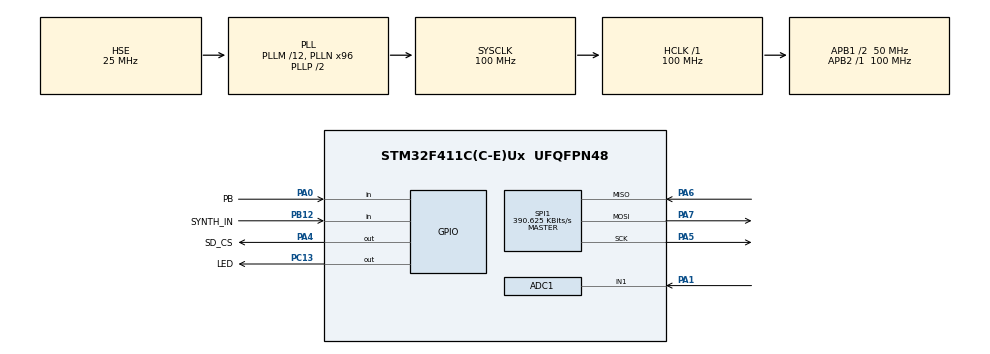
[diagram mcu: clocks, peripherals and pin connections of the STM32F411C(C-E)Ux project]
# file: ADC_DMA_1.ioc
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ADC1.Channel-0\#ChannelRegularConversion=ADC_CHANNEL_1
ADC1.DMAContinuousRequests=ENABLE
ADC1.ExternalTrigConv=ADC_EXTERNALTRIGCONV_T2_TRGO
ADC1.NbrOfConversionFlag=1
ADC1.Rank-0\#ChannelRegularConversion=1
ADC1.SamplingTime-0\#ChannelRegularConversion=ADC_SAMPLETIME_3CYCLES
ADC1.master=1
Dma.ADC1.0.Direction=DMA_PERIPH_TO_MEMORY
Dma.ADC1.0.FIFOMode=DMA_FIFOMODE_DISABLE
Dma.ADC1.0.Instance=DMA2_Stream0
Dma.ADC1.0.MemDataAlignment=DMA_MDATAALIGN_HALFWORD
Dma.ADC1.0.MemInc=DMA_MINC_ENABLE
Dma.ADC1.0.Mode=DMA_CIRCULAR
Dma.ADC1.0.PeriphDataAlignment=DMA_PDATAALIGN_HALFWORD
Dma.ADC1.0.PeriphInc=DMA_PINC_DISABLE
Dma.ADC1.0.Priority=DMA_PRIORITY_HIGH
Dma.Request0=ADC1
Mcu.Family=STM32F4
Mcu.Name=STM32F411C(C-E)Ux
Mcu.Package=UFQFPN48
NVIC.DMA2_Stream0_IRQn=true\:1\:0\:true\:false\:true\:false\:true\:true
NVIC.PriorityGroup=NVIC_PRIORITYGROUP_4
PA0-WKUP.GPIO_Label=PB
PA0-WKUP.GPIO_PuPd=GPIO_PULLUP
PA0-WKUP.Signal=GPIO_Input
PA1.Signal=ADCx_IN1
PA13.Mode=Trace_Asynchronous_SW
PA13.Signal=SYS_JTMS-SWDIO
PA14.Mode=Trace_Asynchronous_SW
PA14.Signal=SYS_JTCK-SWCLK
PA4.GPIO_Label=SD_CS
PA4.GPIO_Speed=GPIO_SPEED_FREQ_HIGH
PA4.Signal=GPIO_Output
PA5.Mode=Full_Duplex_Master
PA5.Signal=SPI1_SCK
PA6.Mode=Full_Duplex_Master
PA6.Signal=SPI1_MISO
PA7.Mode=Full_Duplex_Master
PA7.Signal=SPI1_MOSI
PB12.GPIO_Label=SYNTH_IN
PB12.GPIO_PuPd=GPIO_PULLDOWN
PB12.Signal=GPIO_Input
PB3.Mode=Trace_Asynchronous_SW
PB3.Signal=SYS_JTDO-SWO
PC13-ANTI_TAMP.GPIO_Label=LED
PC13-ANTI_TAMP.GPIO_PuPd=GPIO_PULLUP
PC13-ANTI_TAMP.Signal=GPIO_Output
PC14-OSC32_IN.Mode=LSE-External-Oscillator
PC14-OSC32_IN.Signal=RCC_OSC32_IN
PC15-OSC32_OUT.Mode=LSE-External-Oscillator
PC15-OSC32_OUT.Signal=RCC_OSC32_OUT
PH0\ -\ OSC_IN.Mode=HSE-External-Oscillator
PH0\ -\ OSC_IN.Signal=RCC_OSC_IN
PH1\ -\ OSC_OUT.Mode=HSE-External-Oscillator
PH1\ -\ OSC_OUT.Signal=RCC_OSC_OUT
ProjectManager.HeapSize=0x200
ProjectManager.StackSize=0x400
ProjectManager.TargetToolchain=STM32CubeIDE
RCC.48MHZClocksFreq_Value=50000000
RCC.AHBFreq_Value=100000000
RCC.APB1CLKDivider=RCC_HCLK_DIV2
RCC.APB1Freq_Value=50000000
RCC.APB1TimFreq_Value=100000000
RCC.APB2Freq_Value=100000000
RCC.APB2TimFreq_Value=100000000
RCC.CortexFreq_Value=100000000
RCC.HCLKFreq_Value=100000000
RCC.HSE_VALUE=25000000
RCC.HSI_VALUE=16000000
RCC.PLLM=12
RCC.PLLN=96
RCC.PLLSourceVirtual=RCC_PLLSOURCE_HSE
RCC.SYSCLKFreq_VALUE=100000000
RCC.SYSCLKSource=RCC_SYSCLKSOURCE_PLLCLK
RCC.VCOOutputFreq_Value=200000000
SH.ADCx_IN1.0=ADC1_IN1,IN1
SPI1.BaudRatePrescaler=SPI_BAUDRATEPRESCALER_256
SPI1.CalculateBaudRate=390.625 KBits/s
SPI1.Direction=SPI_DIRECTION_2LINES
SPI1.Mode=SPI_MODE_MASTER
SPI1.VirtualType=VM_MASTER
TIM2.AutoReloadPreload=TIM_AUTORELOAD_PRELOAD_ENABLE
TIM2.Period=4000-1
TIM2.Prescaler=100-1
TIM2.TIM_MasterOutputTrigger=TIM_TRGO_UPDATE
VP_FATFS_VS_Generic.Mode=User_defined
VP_TIM2_VS_ClockSourceINT.Mode=Internal
board=custom

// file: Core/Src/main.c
/* USER CODE BEGIN Header */
/**
 ******************************************************************************
 * @file           : main.c
 * @brief          : Main program body
 ******************************************************************************
 * @attention
 *
 * Copyright (c) 2023 STMicroelectronics.
 * All rights reserved.
 *
 * This software is licensed under terms that can be found in the LICENSE file
 * in the root directory of this software component.
 * If no LICENSE file comes with this software, it is provided AS-IS.
 *
 ******************************************************************************
 */
/* USER CODE END Header */
#include "main.h"
#include "fatfs.h"

/* USER CODE BEGIN Includes */
#include <stdbool.h>
#include <stdlib.h>
#include <stdio.h>
#include <string.h>
#include <math.h>
#include "christov.h"
#include "engzee.h"
#include "tradeoff.h"
#include "filter.h"
/* USER CODE END Includes */

ADC_HandleTypeDef hadc1;
DMA_HandleTypeDef hdma_adc1;

SPI_HandleTypeDef hspi1;

TIM_HandleTypeDef htim2;

/* USER CODE BEGIN PV */
uint16_t buffer[BUF_LEN];

// Flags for processing circular buffer
uint8_t fill = 0; //1: processing 1st half; 2: processing 2nd half
bool firstHalfFull;
bool secondHalfFull;
bool lastBuffer;
bool finishedSampling;
/* USER CODE END PV */

void SystemClock_Config(void);
static void MX_GPIO_Init(void);
static void MX_DMA_Init(void);
static void MX_ADC1_Init(void);
static void MX_TIM2_Init(void);
static void MX_SPI1_Init(void);
/* USER CODE BEGIN PFP */
int _write(int file, char *ptr, int len);
void notEnoughTimeError(void);
/* USER CODE END PFP */

/* USER CODE BEGIN 0 */
// FATFS variables
uint8_t fname[8] = {'S', '0', '0', '.', 't', 'x', 't', 0}; // file name to open
uint8_t condchar[5] = {'S', 'M', 'W', 'J', 'B'}; // Chars for each condition
uint8_t start_subject = 2;
uint8_t end_subject = 	2;
uint8_t current_subject;
uint8_t cond_idx = 0;

/* USER CODE END 0 */

int main(void)
{

  /* USER CODE BEGIN 1 */
	GPIO_PinState PB12bitstatus = GPIO_PIN_RESET;
	// Filter coefficients
	float b1_filter[5] = {FLOAT_1div5, FLOAT_1div5, FLOAT_1div5, FLOAT_1div5, FLOAT_1div5 };
	float b2_filter[7] = {FLOAT_1div7, FLOAT_1div7, FLOAT_1div7, FLOAT_1div7, FLOAT_1div7,
																FLOAT_1div7, FLOAT_1div7 };
	float b_noise[10]  = {FLOAT_1div10, FLOAT_1div10, FLOAT_1div10, FLOAT_1div10,
									FLOAT_1div10, FLOAT_1div10, FLOAT_1div10, FLOAT_1div10,
																FLOAT_1div10, FLOAT_1div10 };

	/* ---------------------------INITIALIZE STRUCTS ----------------------------------------*/
	// Structs for signals
	Signal unfiltered_ecg;		// Unfiltered ECG sampled by ADC (casted to float)
	Signal filtered_ecg_mid;	// ECG signal after first filter
	Signal filtered_ecg_C;		// Two different structs for filtered ECG section
	Signal filtered_ecg_E;		//     since their states are of different lengths
	Signal diff_C;				// Differentiated signal (Christov)
	Signal diff_E;				// Differentiated signal (Engzee)
	Signal diff_filtered_C;		// Signal after final filtering (Christov)
	Signal diff_filtered_E;		// Signal after final filtering (Engzee)

	// Structs for algorithm states
	EngzeeState engzee_state;
	ChristovState christov_state;
	FinalDetect final_detect;

	/* --------------------------- FatFs stuff ----------------------------------------*/

	FATFS FatFs;
	FIL fil;
	FRESULT fres;
	UINT bytes_written;
	char text_line[10];

  /* USER CODE END 1 */

  /* MCU Configuration--------------------------------------------------------*/

  /* Reset of all peripherals, Initializes the Flash interface and the Systick. */
  HAL_Init();

  /* Configure the system clock */
  SystemClock_Config();

  /* Initialize all configured peripherals */
  MX_GPIO_Init();
  MX_DMA_Init();
  MX_ADC1_Init();
  MX_TIM2_Init();
  MX_SPI1_Init();
  MX_FATFS_Init();
  /* USER CODE BEGIN 2 */

  current_subject = start_subject;

  while (current_subject <= end_subject) {

	// Set flags
	firstHalfFull = false;			// First Half of buffer is full and ready to be used
	secondHalfFull = false;			// Second Half of buffer is full and ready to be used
	lastBuffer = false;				// Last buffer will be processed (no more ECG is being sent)
	finishedSampling = false;		// Finish detection
	fill = 0;						// Indicates which half is being processed

	// Zeroes all fields
	memset(&unfiltered_ecg,0,sizeof(unfiltered_ecg));
	memset(&filtered_ecg_mid,0,sizeof(filtered_ecg_mid));
	memset(&filtered_ecg_C, 0, sizeof(filtered_ecg_C));
	memset(&filtered_ecg_E, 0, sizeof(filtered_ecg_E));
	memset(&diff_C, 0, sizeof(diff_C));
	memset(&diff_E, 0, sizeof(diff_E));
	memset(&diff_filtered_C, 0, sizeof(diff_filtered_C));
	memset(&diff_filtered_E, 0, sizeof(diff_filtered_E));

	// Zeroes structs for algorithm states
	memset(&engzee_state, 0, sizeof(EngzeeState)); 		// zera todos os campos
	memset(&christov_state, 0, sizeof(ChristovState)); 	// zera todos os campos
	memset(&final_detect, 0, sizeof(FinalDetect)); 		// zera todos os campos
	float increment = 0.0016064257028112205;
	for (int j = 0; j < ms1200 - ms200; ++j) {
			engzee_state.M_slope[j] = 1.0 - j * increment;
			christov_state.M_slope[j] = engzee_state.M_slope[j];
		}

	// Implements filter state and signal sizes
	unfiltered_ecg.len_state = 		FILTER_B1_ORDER;
	filtered_ecg_mid.len_state = 	FILTER_B2_ORDER;
	filtered_ecg_C.len_state = 		DIFFERENCE_CHRISTOV_STATE;
	filtered_ecg_E.len_state = 		DIFFERENCE_ENGZEE_STATE;
	diff_C.len_state = 				FILTER_B_NOISE_ORDER;
	diff_E.len_state = 				FILTER_B_NOISE_ORDER;

	unfiltered_ecg.len_signal = 	BUF_LEN_HALF;
	filtered_ecg_mid.len_signal= 	BUF_LEN_HALF;
	filtered_ecg_C.len_signal = 	BUF_LEN_HALF;
	filtered_ecg_E.len_signal = 	BUF_LEN_HALF;
	diff_C.len_signal = 			BUF_LEN_HALF;
	diff_E.len_signal = 			BUF_LEN_HALF;
	diff_filtered_C.len_signal= 	BUF_LEN_HALF;
	diff_filtered_E.len_signal= 	BUF_LEN_HALF;

	engzee_state.fs = 250;
	christov_state.fs = 250;

  /* ---------------------------FatFs test start ----------------------------------------*/
  HAL_Delay(1000);
      fres = FR_NOT_READY;
      for (int i = 0; (i<10) && (fres!= FR_OK); i++) {
    	  fres = f_mount(&FatFs,"",1);
    	  HAL_Delay(500);
      }

      if (fres != FR_OK ){
    	  customError();
      }

    /* ---------------------------FatFs test end ----------------------------------------*/
	HAL_TIM_Base_Start(&htim2);
	HAL_GPIO_WritePin(LED_GPIO_Port, LED_Pin, GPIO_PIN_SET);	// Turns LED OFF

	// Wait for pin to be set to start detection
	while(PB12bitstatus != GPIO_PIN_SET){
			PB12bitstatus = HAL_GPIO_ReadPin(SYNTH_IN_GPIO_Port,SYNTH_IN_Pin);
		}
	HAL_ADC_Start_DMA(&hadc1, (uint32_t*)buffer, BUF_LEN);
	HAL_GPIO_WritePin(LED_GPIO_Port, LED_Pin, GPIO_PIN_RESET);	// Turns LED ON when detection starts
	while(firstHalfFull == false);
	fill = 1;
  /* USER CODE END 2 */

  /* Infinite loop */
  /* USER CODE BEGIN WHILE */
	while (finishedSampling == false) {

		if (fill == 1) {
			firstHalfFull = false;
			// Convert first half of array to float type
			array_conversion(&buffer[0], unfiltered_ecg.signal, BUF_LEN_HALF);
		} else if (fill == 2) {
			secondHalfFull = false;
			// Convert second half of array to float type
			array_conversion(&buffer[BUF_LEN_HALF], unfiltered_ecg.signal, BUF_LEN_HALF);
		}
		// ------------------------------------------------------------------//
		// --------------------------FILTERING-------------------------------//

		// Filter using b1 filter
		statefloatfilter(&unfiltered_ecg, &filtered_ecg_mid, b1_filter);

		// Filter using b2 filter for Christov
		statefloatfilter(&filtered_ecg_mid, &filtered_ecg_C, b2_filter);

		// Filter using b2 filter for Engzee
		statefloatfilter(&filtered_ecg_mid, &filtered_ecg_E, b2_filter);
		// ------------------------------------------------------------------//
		// -----------------------DIFFERENTIATION----------------------------//
		// Differentiate according to Christov
		christov_differentiation(&filtered_ecg_C, &diff_C);

		// Differentiate according to Engzee
		engzee_differentiation(&filtered_ecg_E, &diff_E);
		// ------------------------------------------------------------------//
		// -----------------------NOISE FILTERING----------------------------//
		// Filters noise of both differentiated signals
		statefloatfilter(&diff_C, &diff_filtered_C, b_noise);
		statefloatfilter(&diff_E, &diff_filtered_E, b_noise);
		// ------------------------------------------------------------------//
		// -----------------------BEAT DETECTION-----------------------------//
		engzee_lourenco(&unfiltered_ecg, &diff_filtered_E, &engzee_state);
		christov(&diff_filtered_C, &christov_state);

		// Waits for more data
		while((firstHalfFull || secondHalfFull || lastBuffer) == false);

		// Checks if detection is done
		PB12bitstatus = HAL_GPIO_ReadPin(SYNTH_IN_GPIO_Port,SYNTH_IN_Pin);		// If SYNTH_IN_Pin = GPIO_PIN_RESET means no more data will be sent
		if ((PB12bitstatus != GPIO_PIN_SET) && !lastBuffer) {lastBuffer = true;}					// 	(but one more half buffer will still be processed to ensure nothing was missed)
		else if (lastBuffer == true) {finishedSampling = true;}

		if (!finishedSampling) {
			if ((fill == 1 && firstHalfFull) ||
				(fill == 2 && secondHalfFull)) {
				customError();
			} else if (fill == 1 && secondHalfFull) {
				fill = 2;
			} else if (fill == 2 && firstHalfFull) {
				fill = 1;
			}
		}

		HAL_GPIO_TogglePin(LED_GPIO_Port, LED_Pin);
		/* USER CODE END 3 */
	}
    /* USER CODE END WHILE */

    /* USER CODE BEGIN 3 */
	// Combines detections from both algorithms
	tradeoff(&engzee_state,&christov_state, &final_detect);
	HAL_GPIO_WritePin(LED_GPIO_Port, LED_Pin, GPIO_PIN_SET);	// Turns LED off when done sampling
	HAL_ADC_Stop_DMA(&hadc1);

	/* ----------------------- Save detections in SD card -------------------------------------*/
	HAL_Delay(1000);
	fres = FR_NOT_READY;
	bytes_written = 0;

	for (int i = 0; (i<10) && (fres!= FR_OK); i++) {
		  fres = f_mount(&FatFs,"",1);
		  HAL_Delay(500);
	  }

	  if (fres != FR_OK ){
		  customError();
	  }

	fname[0] = condchar[cond_idx];
	fname[1] = (current_subject / 10) + 0x30;
	fname[2] = (current_subject % 10) + 0x30;
	fres = f_open(&fil, (TCHAR*)fname, FA_CREATE_ALWAYS | FA_WRITE);

	if (fres == FR_OK) {
		  // 2. Itere sobre o buffer de números
		  for (int i = 0; i < final_detect.len_detections; i++) {

			  // Converte o número (ex: 245) para a string "245\n"
			  // O '\n' é a quebra de linha para separar os valores
			  int len = snprintf(text_line, sizeof(text_line), "%lu\n", final_detect.detections[i]);

			  // 3. Escreve a string (texto) no arquivo
			  fres = f_write(&fil, text_line, len, &bytes_written);

			  if (fres != FR_OK || bytes_written != len) {
				  // Se o FatFs não conseguiu escrever todos os bytes, pare
				  customError();
			  }
		  }
	  }
	  f_close(&fil);
	  f_mount(NULL, "", 0);

	  /* -------------------------------------------------------------------*/

	if(cond_idx < 5) {
		cond_idx++;
	} else if (cond_idx == 5) {
		cond_idx = 0;
		current_subject++;
	} else {
		customError();
	}
  }

	return 0;
  /* USER CODE END 3 */
}

void SystemClock_Config(void)
{
  RCC_OscInitTypeDef RCC_OscInitStruct = {0};
  RCC_ClkInitTypeDef RCC_ClkInitStruct = {0};

  /** Configure the main internal regulator output voltage
  */
  __HAL_RCC_PWR_CLK_ENABLE();
  __HAL_PWR_VOLTAGESCALING_CONFIG(PWR_REGULATOR_VOLTAGE_SCALE1);

  /** Initializes the RCC Oscillators according to the specified parameters
  * in the RCC_OscInitTypeDef structure.
  */
  RCC_OscInitStruct.OscillatorType = RCC_OSCILLATORTYPE_HSE;
  RCC_OscInitStruct.HSEState = RCC_HSE_ON;
  RCC_OscInitStruct.PLL.PLLState = RCC_PLL_ON;
  RCC_OscInitStruct.PLL.PLLSource = RCC_PLLSOURCE_HSE;
  RCC_OscInitStruct.PLL.PLLM = 12;
  RCC_OscInitStruct.PLL.PLLN = 96;
  RCC_OscInitStruct.PLL.PLLP = RCC_PLLP_DIV2;
  RCC_OscInitStruct.PLL.PLLQ = 4;
  if (HAL_RCC_OscConfig(&RCC_OscInitStruct) != HAL_OK)
  {
    Error_Handler();
  }

  /** Initializes the CPU, AHB and APB buses clocks
  */
  RCC_ClkInitStruct.ClockType = RCC_CLOCKTYPE_HCLK|RCC_CLOCKTYPE_SYSCLK
                              |RCC_CLOCKTYPE_PCLK1|RCC_CLOCKTYPE_PCLK2;
  RCC_ClkInitStruct.SYSCLKSource = RCC_SYSCLKSOURCE_PLLCLK;
  RCC_ClkInitStruct.AHBCLKDivider = RCC_SYSCLK_DIV1;
  RCC_ClkInitStruct.APB1CLKDivider = RCC_HCLK_DIV2;
  RCC_ClkInitStruct.APB2CLKDivider = RCC_HCLK_DIV1;

  if (HAL_RCC_ClockConfig(&RCC_ClkInitStruct, FLASH_LATENCY_3) != HAL_OK)
  {
    Error_Handler();
  }
}

static void MX_ADC1_Init(void)
{

  ADC_ChannelConfTypeDef sConfig = {0};

  /** Configure the global features of the ADC (Clock, Resolution, Data Alignment and number of conversion)
  */
  hadc1.Instance = ADC1;
  hadc1.Init.ClockPrescaler = ADC_CLOCK_SYNC_PCLK_DIV4;
  hadc1.Init.Resolution = ADC_RESOLUTION_12B;
  hadc1.Init.ScanConvMode = DISABLE;
  hadc1.Init.ContinuousConvMode = DISABLE;
  hadc1.Init.DiscontinuousConvMode = DISABLE;
  hadc1.Init.ExternalTrigConvEdge = ADC_EXTERNALTRIGCONVEDGE_RISING;
  hadc1.Init.ExternalTrigConv = ADC_EXTERNALTRIGCONV_T2_TRGO;
  hadc1.Init.DataAlign = ADC_DATAALIGN_RIGHT;
  hadc1.Init.NbrOfConversion = 1;
  hadc1.Init.DMAContinuousRequests = ENABLE;
  hadc1.Init.EOCSelection = ADC_EOC_SINGLE_CONV;
  if (HAL_ADC_Init(&hadc1) != HAL_OK)
  {
    Error_Handler();
  }

  /** Configure for the selected ADC regular channel its corresponding rank in the sequencer and its sample time.
  */
  sConfig.Channel = ADC_CHANNEL_1;
  sConfig.Rank = 1;
  sConfig.SamplingTime = ADC_SAMPLETIME_3CYCLES;
  if (HAL_ADC_ConfigChannel(&hadc1, &sConfig) != HAL_OK)
  {
    Error_Handler();
  }

}

static void MX_SPI1_Init(void)
{

  /* SPI1 parameter configuration*/
  hspi1.Instance = SPI1;
  hspi1.Init.Mode = SPI_MODE_MASTER;
  hspi1.Init.Direction = SPI_DIRECTION_2LINES;
  hspi1.Init.DataSize = SPI_DATASIZE_8BIT;
  hspi1.Init.CLKPolarity = SPI_POLARITY_LOW;
  hspi1.Init.CLKPhase = SPI_PHASE_1EDGE;
  hspi1.Init.NSS = SPI_NSS_SOFT;
  hspi1.Init.BaudRatePrescaler = SPI_BAUDRATEPRESCALER_256;
  hspi1.Init.FirstBit = SPI_FIRSTBIT_MSB;
  hspi1.Init.TIMode = SPI_TIMODE_DISABLE;
  hspi1.Init.CRCCalculation = SPI_CRCCALCULATION_DISABLE;
  hspi1.Init.CRCPolynomial = 10;
  if (HAL_SPI_Init(&hspi1) != HAL_OK)
  {
    Error_Handler();
  }

}

static void MX_TIM2_Init(void)
{

  TIM_ClockConfigTypeDef sClockSourceConfig = {0};
  TIM_MasterConfigTypeDef sMasterConfig = {0};

  htim2.Instance = TIM2;
  htim2.Init.Prescaler = 100-1;
  htim2.Init.CounterMode = TIM_COUNTERMODE_UP;
  htim2.Init.Period = 4000-1;
  htim2.Init.ClockDivision = TIM_CLOCKDIVISION_DIV1;
  htim2.Init.AutoReloadPreload = TIM_AUTORELOAD_PRELOAD_ENABLE;
  if (HAL_TIM_Base_Init(&htim2) != HAL_OK)
  {
    Error_Handler();
  }
  sClockSourceConfig.ClockSource = TIM_CLOCKSOURCE_INTERNAL;
  if (HAL_TIM_ConfigClockSource(&htim2, &sClockSourceConfig) != HAL_OK)
  {
    Error_Handler();
  }
  sMasterConfig.MasterOutputTrigger = TIM_TRGO_UPDATE;
  sMasterConfig.MasterSlaveMode = TIM_MASTERSLAVEMODE_DISABLE;
  if (HAL_TIMEx_MasterConfigSynchronization(&htim2, &sMasterConfig) != HAL_OK)
  {
    Error_Handler();
  }

}

static void MX_DMA_Init(void)
{

  /* DMA controller clock enable */
  __HAL_RCC_DMA2_CLK_ENABLE();

  /* DMA interrupt init */
  /* DMA2_Stream0_IRQn interrupt configuration */
  HAL_NVIC_SetPriority(DMA2_Stream0_IRQn, 1, 0);
  HAL_NVIC_EnableIRQ(DMA2_Stream0_IRQn);

}

static void MX_GPIO_Init(void)
{
  GPIO_InitTypeDef GPIO_InitStruct = {0};

  /* GPIO Ports Clock Enable */
  __HAL_RCC_GPIOC_CLK_ENABLE();
  __HAL_RCC_GPIOH_CLK_ENABLE();
  __HAL_RCC_GPIOA_CLK_ENABLE();
  __HAL_RCC_GPIOB_CLK_ENABLE();

  /*Configure GPIO pin Output Level */
  HAL_GPIO_WritePin(LED_GPIO_Port, LED_Pin, GPIO_PIN_RESET);

  /*Configure GPIO pin Output Level */
  HAL_GPIO_WritePin(SD_CS_GPIO_Port, SD_CS_Pin, GPIO_PIN_RESET);

  /*Configure GPIO pin : LED_Pin */
  GPIO_InitStruct.Pin = LED_Pin;
  GPIO_InitStruct.Mode = GPIO_MODE_OUTPUT_PP;
  GPIO_InitStruct.Pull = GPIO_PULLUP;
  GPIO_InitStruct.Speed = GPIO_SPEED_FREQ_LOW;
  HAL_GPIO_Init(LED_GPIO_Port, &GPIO_InitStruct);

  /*Configure GPIO pin : PB_Pin */
  GPIO_InitStruct.Pin = PB_Pin;
  GPIO_InitStruct.Mode = GPIO_MODE_INPUT;
  GPIO_InitStruct.Pull = GPIO_PULLUP;
  HAL_GPIO_Init(PB_GPIO_Port, &GPIO_InitStruct);

  /*Configure GPIO pin : SD_CS_Pin */
  GPIO_InitStruct.Pin = SD_CS_Pin;
  GPIO_InitStruct.Mode = GPIO_MODE_OUTPUT_PP;
  GPIO_InitStruct.Pull = GPIO_NOPULL;
  GPIO_InitStruct.Speed = GPIO_SPEED_FREQ_HIGH;
  HAL_GPIO_Init(SD_CS_GPIO_Port, &GPIO_InitStruct);

  /*Configure GPIO pin : SYNTH_IN_Pin */
  GPIO_InitStruct.Pin = SYNTH_IN_Pin;
  GPIO_InitStruct.Mode = GPIO_MODE_INPUT;
  GPIO_InitStruct.Pull = GPIO_PULLDOWN;
  HAL_GPIO_Init(SYNTH_IN_GPIO_Port, &GPIO_InitStruct);

}

/* USER CODE BEGIN 4 */
void HAL_ADC_ConvHalfCpltCallback(ADC_HandleTypeDef *hadc) {
//	t_1 = DWT->CYCCNT;
//	buffer_1250_0 = buffer[1249];
//	buffer_1251_0 = buffer[1250];
	firstHalfFull = true;
}

void HAL_ADC_ConvCpltCallback(ADC_HandleTypeDef *hadc) {
//	t_2 = DWT->CYCCNT;
//	buffer_1250_1 = buffer[1249];
//	buffer_1251_1 = buffer[1250];
	secondHalfFull = true;
}

int _write(int file, char *ptr, int len)
{
	int DataIdx;

	for (DataIdx = 0; DataIdx < len; DataIdx++)
	{
		ITM_SendChar(ptr[DataIdx]);  // Envia caractere por ITM
	}
	return len;
}

/**
  * @brief  This function is executed in case the circular buffer is starting to be overwritten but processing is not yet over.
  * @retval None
  */
void customError(void){
	while (1) {
	HAL_GPIO_WritePin(LED_GPIO_Port, LED_Pin, GPIO_PIN_SET);	// Turns LED off when done sampling
	HAL_Delay(200);
	HAL_GPIO_WritePin(LED_GPIO_Port, LED_Pin, GPIO_PIN_RESET);	// Turns LED off when done sampling
	HAL_Delay(200);
	}
}

/* USER CODE END 4 */

void Error_Handler(void)
{
	__disable_irq();
	while (1)
	{
	}
}
